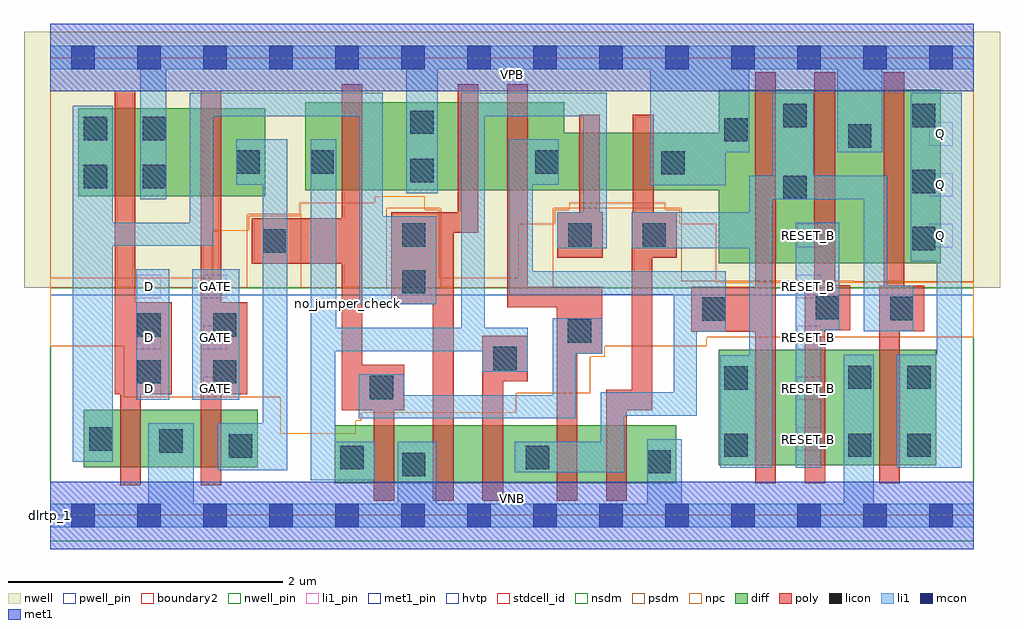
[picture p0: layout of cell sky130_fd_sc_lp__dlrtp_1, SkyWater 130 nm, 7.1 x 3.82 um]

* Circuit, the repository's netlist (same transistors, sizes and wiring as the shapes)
* Copyright 2020 The SkyWater PDK Authors
*
* Licensed under the Apache License, Version 2.0 (the "License");
* you may not use this file except in compliance with the License.
* You may obtain a copy of the License at
*
*     https://www.apache.org/licenses/LICENSE-2.0
*
* Unless required by applicable law or agreed to in writing, software
* distributed under the License is distributed on an "AS IS" BASIS,
* WITHOUT WARRANTIES OR CONDITIONS OF ANY KIND, either express or implied.
* See the License for the specific language governing permissions and
* limitations under the License.
*
* SPDX-License-Identifier: Apache-2.0

.SUBCKT sky130_fd_sc_lp__dlrtp_1 D GATE RESET_B VGND VNB VPB VPWR Q
*.PININFO D:I GATE:I RESET_B:I VGND:I VNB:I VPB:I VPWR:I Q:O
MI635 clkpos clkneg VPWR VPB sky130_fd_pr__pfet_01v8_hvt m=1 w=0.64U l=0.15U mult=1
+ sa=0.265 sb=0.265 sd=0.28 area=0.063 perim=1.14
MI17 M0 clkneg net51 VPB sky130_fd_pr__pfet_01v8_hvt m=1 w=0.64U l=0.15U mult=1
+ sa=0.265 sb=0.265 sd=0.28 area=0.063 perim=1.14
MI650 Q m1 VPWR VPB sky130_fd_pr__pfet_01v8_hvt m=1 w=1.26U l=0.15U mult=1 sa=0.265
+ sb=0.265 sd=0.28 area=0.063 perim=1.14
MI633 clkneg GATE VPWR VPB sky130_fd_pr__pfet_01v8_hvt m=1 w=0.64U l=0.15U mult=1
+ sa=0.265 sb=0.265 sd=0.28 area=0.063 perim=1.14
MI658 m1 RESET_B VPWR VPB sky130_fd_pr__pfet_01v8_hvt m=1 w=1.26U l=0.15U mult=1
+ sa=0.265 sb=0.265 sd=0.28 area=0.063 perim=1.14
MI18 net51 db VPWR VPB sky130_fd_pr__pfet_01v8_hvt m=1 w=0.64U l=0.15U mult=1 sa=0.265
+ sb=0.265 sd=0.28 area=0.063 perim=1.14
MI653 net59 m1 VPWR VPB sky130_fd_pr__pfet_01v8_hvt m=1 w=0.42U l=0.15U mult=1
+ sa=0.265 sb=0.265 sd=0.28 area=0.063 perim=1.14
MI651 M0 clkpos net59 VPB sky130_fd_pr__pfet_01v8_hvt m=1 w=0.42U l=0.15U mult=1
+ sa=0.265 sb=0.265 sd=0.28 area=0.063 perim=1.14
MI655 m1 M0 VPWR VPB sky130_fd_pr__pfet_01v8_hvt m=1 w=1.26U l=0.15U mult=1 sa=0.265
+ sb=0.265 sd=0.28 area=0.063 perim=1.14
MI638 db D VPWR VPB sky130_fd_pr__pfet_01v8_hvt m=1 w=0.64U l=0.15U mult=1 sa=0.265
+ sb=0.265 sd=0.28 area=0.063 perim=1.14
MI634 clkneg GATE VGND VNB sky130_fd_pr__nfet_01v8 m=1 w=0.42U l=0.15U mult=1 sa=0.265
+ sb=0.265 sd=0.28 area=0.063 perim=1.14
MI649 Q m1 VGND VNB sky130_fd_pr__nfet_01v8 m=1 w=0.84U l=0.15U mult=1 sa=0.265
+ sb=0.265 sd=0.28 area=0.063 perim=1.14
MI657 net86 RESET_B VGND VNB sky130_fd_pr__nfet_01v8 m=1 w=0.84U l=0.15U mult=1
+ sa=0.265 sb=0.265 sd=0.28 area=0.063 perim=1.14
MI652 M0 clkneg net102 VNB sky130_fd_pr__nfet_01v8 m=1 w=0.42U l=0.15U mult=1 sa=0.265
+ sb=0.265 sd=0.28 area=0.063 perim=1.14
MI654 net102 m1 VGND VNB sky130_fd_pr__nfet_01v8 m=1 w=0.42U l=0.15U mult=1 sa=0.265
+ sb=0.265 sd=0.28 area=0.063 perim=1.14
MI656 m1 M0 net86 VNB sky130_fd_pr__nfet_01v8 m=1 w=0.84U l=0.15U mult=1 sa=0.265
+ sb=0.265 sd=0.28 area=0.063 perim=1.14
MI636 clkpos clkneg VGND VNB sky130_fd_pr__nfet_01v8 m=1 w=0.42U l=0.15U mult=1
+ sa=0.265 sb=0.265 sd=0.28 area=0.063 perim=1.14
MI637 db D VGND VNB sky130_fd_pr__nfet_01v8 m=1 w=0.42U l=0.15U mult=1 sa=0.265
+ sb=0.265 sd=0.28 area=0.063 perim=1.14
MI19 M0 clkpos net98 VNB sky130_fd_pr__nfet_01v8 m=1 w=0.42U l=0.15U mult=1 sa=0.265
+ sb=0.265 sd=0.28 area=0.063 perim=1.14
MI20 net98 db VGND VNB sky130_fd_pr__nfet_01v8 m=1 w=0.42U l=0.15U mult=1 sa=0.265
+ sb=0.265 sd=0.28 area=0.063 perim=1.14
.ENDS sky130_fd_sc_lp__dlrtp_1

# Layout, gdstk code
import gdstk
lib = gdstk.Library(unit=1e-6, precision=1e-09)
def R(c, l, rs):  # rectangles x0, y0, x1, y1
    for r in rs: c.add(gdstk.rectangle(r[:2], r[2:], *l))
def A(c, l, x, y, w, h, nx, ny, dx, dy):  # array of equal rectangles
    R(c, l, [(x+i*dx, y+j*dy, x+i*dx+w, y+j*dy+h) for i in range(nx) for j in range(ny)])
def P(c, l, *ps):  # polygons
    for p in ps: c.add(gdstk.Polygon(p, *l))
nwell_pin = (64, 16)
nwell = (64, 20)
diff = (65, 20)
poly = (66, 20)
licon = (66, 44)
li1_pin = (67, 16)
li1 = (67, 20)
mcon = (67, 44)
met1_pin = (68, 16)
met1 = (68, 20)
hvtp = (78, 44)
stdcell_id = (81, 4)
nsdm = (93, 44)
psdm = (94, 20)
npc = (95, 20)
pwell_pin = (122, 16)
boundary2 = (236, 0)

sky130_fd_sc_lp__dlrtp_1 = lib.new_cell('sky130_fd_sc_lp__dlrtp_1')
R(sky130_fd_sc_lp__dlrtp_1, nwell_pin, [(0,3.085,6.72,3.33)])
R(sky130_fd_sc_lp__dlrtp_1, nwell, [(-0.19,1.655,6.91,3.52)])
R(sky130_fd_sc_lp__dlrtp_1, diff, [(2.07,0.235,4.555,0.655), (0.245,0.35,1.51,0.77), (4.865,0.365,6.445,1.205), (0.205,2.32,1.565,2.96)])
P(sky130_fd_sc_lp__dlrtp_1, diff, [(6.48,3.095),(4.865,3.095),(4.865,2.785),(3.74,2.785),(3.74,3.005),(1.855,3.005),(1.855,2.365),(4.865,2.365),(4.865,1.835),(6.48,1.835)])
P(sky130_fd_sc_lp__dlrtp_1, poly, [(0.885,1.55),(0.62,1.55),(0.62,3.09),(0.47,3.09),(0.47,0.88),(0.51,0.88),(0.51,0.22),(0.66,0.22),(0.66,0.88),(0.885,0.88)],
  [(1.435,1.55),(1.245,1.55),(1.245,3.09),(1.095,3.09),(1.095,0.22),(1.245,0.22),(1.245,0.88),(1.435,0.88)],
  [(2.575,1.095),(2.27,1.095),(2.27,3.135),(2.12,3.135),(2.12,2.16),(1.465,2.16),(1.465,1.83),(2.12,1.83),(2.12,0.765),(2.355,0.765),(2.355,0.105),(2.505,0.105),(2.505,0.765),(2.575,0.765)],
  [(3.115,3.135),(2.965,3.135),(2.965,2.205),(2.48,2.205),(2.48,1.535),(2.785,1.535),(2.785,0.105),(2.935,0.105),(2.935,2.055),(3.115,2.055)],
  [(4.015,1.665),(3.475,1.665),(3.475,3.135),(3.325,3.135),(3.325,1.515),(3.685,1.515),(3.685,0.105),(3.835,0.105),(3.835,1.175),(4.015,1.175)],
  [(4.02,2.205),(4,2.205),(4,2.915),(3.85,2.915),(3.85,2.205),(3.69,2.205),(3.69,1.875),(4.02,1.875)],
  [(4.56,2.205),(4.39,2.205),(4.39,2.915),(4.24,2.915),(4.24,2.205),(4.23,2.205),(4.23,0.915),(4.045,0.915),(4.045,0.105),(4.195,0.105),(4.195,0.765),(4.38,0.765),(4.38,1.875),(4.56,1.875)],
  [(5.28,3.225),(5.13,3.225),(5.13,1.665),(4.665,1.665),(4.665,1.335),(5.13,1.335),(5.13,0.235),(5.28,0.235)],
  [(5.82,1.675),(5.71,1.675),(5.71,3.225),(5.56,3.225),(5.56,1.675),(5.49,1.675),(5.49,0.235),(5.64,0.235),(5.64,1.345),(5.82,1.345)],
  [(6.36,1.67),(6.215,1.67),(6.215,3.225),(6.065,3.225),(6.065,1.67),(6.03,1.67),(6.03,0.235),(6.18,0.235),(6.18,1.34),(6.36,1.34)],
  [(3.475,1.305),(3.145,1.305),(3.145,0.105),(3.295,0.105),(3.295,0.975),(3.475,0.975)])
R(sky130_fd_sc_lp__dlrtp_1, licon, [(2.56,0.285,2.73,0.455), (4.345,0.305,4.515,0.475), (2.11,0.335,2.28,0.505), (3.46,0.335,3.63,0.505), (1.3,0.42,1.47,0.59), (4.905,0.425,5.075,0.595), (5.805,0.425,5.975,0.595), (6.235,0.425,6.405,0.595), (0.795,0.455,0.965,0.625), (0.285,0.47,0.455,0.64), (2.325,0.845,2.495,1.015), (4.905,0.915,5.075,1.085), (5.805,0.92,5.975,1.09), (6.235,0.92,6.405,1.09), (0.635,0.96,0.805,1.13), (1.185,0.96,1.355,1.13), (3.225,1.055,3.395,1.225), (3.765,1.255,3.935,1.425), (0.635,1.3,0.805,1.47), (1.185,1.3,1.355,1.47), (4.745,1.415,4.915,1.585), (6.11,1.42,6.28,1.59), (5.57,1.425,5.74,1.595), (2.56,1.615,2.73,1.785), (1.545,1.91,1.715,2.08), (6.27,1.93,6.44,2.1), (2.56,1.955,2.73,2.125), (3.77,1.955,3.94,2.125), (4.31,1.955,4.48,2.125), (5.335,2.3,5.505,2.47), (6.27,2.345,6.44,2.515), (0.245,2.38,0.415,2.55), (0.675,2.38,0.845,2.55), (2.62,2.425,2.79,2.595), (4.445,2.48,4.615,2.65), (1.355,2.485,1.525,2.655), (1.895,2.485,2.065,2.655), (3.53,2.485,3.7,2.655), (5.805,2.675,5.975,2.845), (4.905,2.72,5.075,2.89), (0.245,2.73,0.415,2.9), (0.675,2.73,0.845,2.9), (2.62,2.775,2.79,2.945), (5.335,2.825,5.505,2.995), (6.27,2.825,6.44,2.995)])
A(sky130_fd_sc_lp__dlrtp_1, li1_pin, 5.435, 0.47, 0.17, 0.17, 1, 5, 0, 0.37)
A(sky130_fd_sc_lp__dlrtp_1, li1_pin, 0.635, 0.84, 0.17, 0.17, 1, 3, 0, 0.37)
A(sky130_fd_sc_lp__dlrtp_1, li1_pin, 1.115, 0.84, 0.17, 0.17, 1, 3, 0, 0.37)
A(sky130_fd_sc_lp__dlrtp_1, li1_pin, 6.395, 1.95, 0.17, 0.17, 1, 3, 0, 0.37)
R(sky130_fd_sc_lp__dlrtp_1, li1, [(0.625,0.84,0.865,1.79), (1.035,0.84,1.375,1.79)])
P(sky130_fd_sc_lp__dlrtp_1, li1, [(3.34,1.605),(3.34,2.735),(3.7,2.735),(3.7,2.405),(3.51,2.405),(3.51,1.775),(4.915,1.775),(4.915,1.335),(4.705,1.335),(4.705,0.725),(4.175,0.725),(4.175,0.315),(3.38,0.315),(3.38,0.535),(4.005,0.535),(4.005,0.895),(4.535,0.895),(4.535,1.605)],
  [(5.425,2.13),(5.74,2.13),(5.74,1.345),(5.605,1.345),(5.605,0.345),(5.425,0.345)],
  [(2.42,3.075),(2.42,2.175),(2.81,2.175),(2.81,1.535),(2.25,1.535),(2.25,2.905),(1.185,2.905),(1.185,1.96),(0.455,1.96),(0.455,0.39),(0.165,0.39),(0.165,2.98),(0.455,2.98),(0.455,2.13),(1.015,2.13),(1.015,3.075)],
  [(2.575,0.875),(3.655,0.875),(3.655,1.435),(4.015,1.435),(4.015,1.175),(3.825,1.175),(3.825,0.705),(2.245,0.705),(2.245,1.025),(2.575,1.025)],
  [(6.72,3.415),(0,3.415),(0,3.245),(0.655,3.245),(0.655,2.3),(0.845,2.3),(0.845,3.245),(2.59,3.245),(2.59,2.345),(2.82,2.345),(2.82,3.245),(4.365,3.245),(4.365,2.4),(4.915,2.4),(4.915,2.64),(5.085,2.64),(5.085,3.245),(5.725,3.245),(5.725,2.64),(6.055,2.64),(6.055,3.245),(6.72,3.245)],
  [(4.345,0.085),(4.345,0.555),(4.595,0.555),(4.595,0.085),(5.775,0.085),(5.775,1.17),(5.99,1.17),(5.99,0.085),(6.72,0.085),(6.72,-0.085),(0,-0.085),(0,0.085),(0.715,0.085),(0.715,0.67),(1.045,0.67),(1.045,0.085),(2.53,0.085),(2.53,0.535),(2.81,0.535),(2.81,0.085)],
  [(6.28,1.67),(6.09,1.67),(6.09,2.47),(5.555,2.47),(5.555,3.075),(5.255,3.075),(5.255,2.47),(5.085,2.47),(5.085,2.205),(4.23,2.205),(4.23,1.945),(5.085,1.945),(5.085,1.165),(4.875,1.165),(4.875,0.345),(5.255,0.345),(5.255,2.3),(5.92,2.3),(5.92,1.34),(6.28,1.34)],
  [(2.99,3.075),(4.05,3.075),(4.05,1.945),(3.69,1.945),(3.69,2.205),(3.88,2.205),(3.88,2.905),(3.16,2.905),(3.16,1.365),(3.475,1.365),(3.475,1.045),(3.145,1.045),(3.145,1.195),(2.075,1.195),(2.075,0.535),(2.36,0.535),(2.36,0.255),(1.895,0.255),(1.895,2.735),(2.08,2.735),(2.08,1.365),(2.99,1.365)],
  [(6.26,1.85),(6.26,3.075),(6.63,3.075),(6.63,0.345),(6.16,0.345),(6.16,1.17),(6.45,1.17),(6.45,1.85)],
  [(1.545,0.67),(1.545,2.405),(1.355,2.405),(1.355,2.735),(1.725,2.735),(1.725,0.33),(1.22,0.33),(1.22,0.67)])
A(sky130_fd_sc_lp__dlrtp_1, mcon, 0.155, -0.085, 0.17, 0.17, 14, 2, 0.48, 3.33)
R(sky130_fd_sc_lp__dlrtp_1, met1_pin, [(0,0,6.72,0.245), (0,3.085,6.72,3.33)])
R(sky130_fd_sc_lp__dlrtp_1, met1, [(0,-0.245,6.72,0.245), (0,3.085,6.72,3.575)])
R(sky130_fd_sc_lp__dlrtp_1, hvtp, [(0,1.6,6.72,3.33)])
R(sky130_fd_sc_lp__dlrtp_1, stdcell_id, [(0,0,6.72,3.33)])
R(sky130_fd_sc_lp__dlrtp_1, nsdm, [(0,-0.19,6.72,1.655)])
P(sky130_fd_sc_lp__dlrtp_1, psdm, [(6.72,3.52),(0,3.52),(0,1.655),(1.435,1.655),(1.435,2.19),(1.825,2.19),(1.825,1.655),(2.45,1.655),(2.45,2.235),(2.84,2.235),(2.84,1.655),(3.66,1.655),(3.66,2.235),(4.59,2.235),(4.59,1.705),(5.85,1.705),(5.85,1.7),(6.72,1.7)])
P(sky130_fd_sc_lp__dlrtp_1, npc, [(6.72,1.695),(4.845,1.695),(4.845,2.12),(4.58,2.12),(4.58,2.225),(4.475,2.225),(4.475,2.275),(3.775,2.275),(3.775,2.225),(3.67,2.225),(3.67,2.12),(3.405,2.12),(3.405,1.73),(2.83,1.73),(2.83,2.225),(2.725,2.225),(2.725,2.32),(2.36,2.32),(2.36,2.275),(1.815,2.275),(1.815,2.18),(1.445,2.18),(1.445,2.075),(1.18,2.075),(1.18,1.73),(0,1.73),(0,1.23),(0.535,1.23),(0.535,0.86),(1.675,0.86),(1.675,0.595),(2.225,0.595),(2.225,0.69),(2.265,0.69),(2.265,0.745),(3.39,0.745),(3.39,0.89),(3.93,0.89),(3.93,1.155),(4.035,1.155),(4.035,1.23),(4.775,1.23),(4.775,1.295),(6.72,1.295)])
R(sky130_fd_sc_lp__dlrtp_1, pwell_pin, [(0,0,6.72,0.245)])
R(sky130_fd_sc_lp__dlrtp_1, boundary2, [(0,0,6.72,3.33)])
sky130_fd_sc_lp__dlrtp_1.add(gdstk.Label('VNB', (3.36,0.123), layer=64, texttype=59))
sky130_fd_sc_lp__dlrtp_1.add(gdstk.Label('VPB', (3.36,3.208), layer=64, texttype=5))
sky130_fd_sc_lp__dlrtp_1.add(gdstk.Label('dlrtp_1', (0,0), layer=83, texttype=44))
sky130_fd_sc_lp__dlrtp_1.add(gdstk.Label('no_jumper_check', (2.16,1.54), layer=83, texttype=44))
sky130_fd_sc_lp__dlrtp_1.add(gdstk.Label('VPWR', (3.36,3.208), layer=68, texttype=5))
sky130_fd_sc_lp__dlrtp_1.add(gdstk.Label('VGND', (3.36,0.123), layer=68, texttype=5))
sky130_fd_sc_lp__dlrtp_1.add(gdstk.Label('D', (0.72,0.925), layer=67, texttype=5))
sky130_fd_sc_lp__dlrtp_1.add(gdstk.Label('D', (0.72,1.295), layer=67, texttype=5))
sky130_fd_sc_lp__dlrtp_1.add(gdstk.Label('D', (0.72,1.665), layer=67, texttype=5))
sky130_fd_sc_lp__dlrtp_1.add(gdstk.Label('RESET_B', (5.52,0.555), layer=67, texttype=5))
sky130_fd_sc_lp__dlrtp_1.add(gdstk.Label('RESET_B', (5.52,0.925), layer=67, texttype=5))
sky130_fd_sc_lp__dlrtp_1.add(gdstk.Label('RESET_B', (5.52,1.295), layer=67, texttype=5))
sky130_fd_sc_lp__dlrtp_1.add(gdstk.Label('RESET_B', (5.52,1.665), layer=67, texttype=5))
sky130_fd_sc_lp__dlrtp_1.add(gdstk.Label('RESET_B', (5.52,2.035), layer=67, texttype=5))
sky130_fd_sc_lp__dlrtp_1.add(gdstk.Label('GATE', (1.2,0.925), layer=67, texttype=5))
sky130_fd_sc_lp__dlrtp_1.add(gdstk.Label('GATE', (1.2,1.295), layer=67, texttype=5))
sky130_fd_sc_lp__dlrtp_1.add(gdstk.Label('GATE', (1.2,1.665), layer=67, texttype=5))
sky130_fd_sc_lp__dlrtp_1.add(gdstk.Label('Q', (6.48,2.035), layer=67, texttype=5))
sky130_fd_sc_lp__dlrtp_1.add(gdstk.Label('Q', (6.48,2.405), layer=67, texttype=5))
sky130_fd_sc_lp__dlrtp_1.add(gdstk.Label('Q', (6.48,2.775), layer=67, texttype=5))

lib.write_gds('sky130_fd_sc_lp__dlrtp_1.gds')
